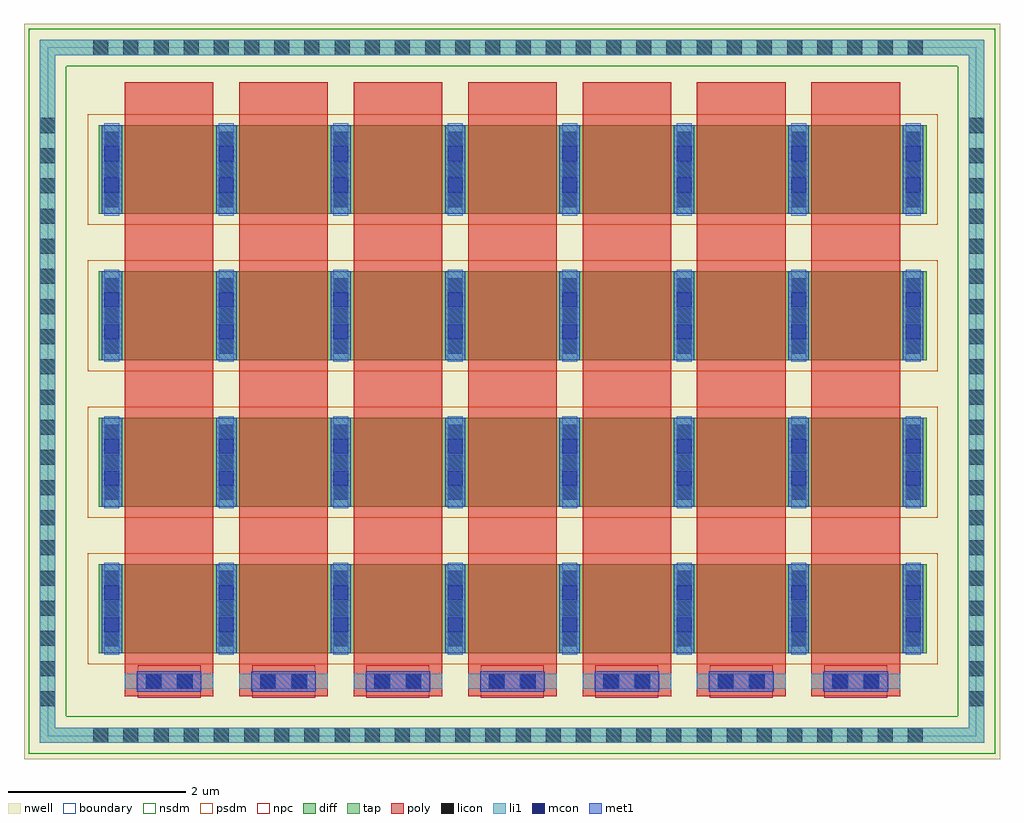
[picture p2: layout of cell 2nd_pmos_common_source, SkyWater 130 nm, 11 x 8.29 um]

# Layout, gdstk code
import gdstk
lib = gdstk.Library(unit=1e-6, precision=1e-09)
def R(c, l, rs):  # rectangles x0, y0, x1, y1
    for r in rs: c.add(gdstk.rectangle(r[:2], r[2:], *l))
def A(c, l, x, y, w, h, nx, ny, dx, dy):  # array of equal rectangles
    R(c, l, [(x+i*dx, y+j*dy, x+i*dx+w, y+j*dy+h) for i in range(nx) for j in range(ny)])
nwell = (64, 20)
diff = (65, 20)
tap = (65, 44)
poly = (66, 20)
licon = (66, 44)
li1 = (67, 20)
mcon = (67, 44)
met1 = (68, 20)
nsdm = (93, 44)
psdm = (94, 20)
npc = (95, 20)
boundary = (235, 4)

pfet_1_01v8 = lib.new_cell('pfet_1_01v8')
R(pfet_1_01v8, diff, [(0.125,0.485,1.715,1.485)])
R(pfet_1_01v8, poly, [(0.415,0,1.415,1.97)])
A(pfet_1_01v8, licon, 0.185, 0.56, 0.17, 0.17, 1, 3, 0, 0.34)
A(pfet_1_01v8, licon, 1.475, 0.56, 0.17, 0.17, 1, 3, 0, 0.34)
R(pfet_1_01v8, li1, [(0.185,0.465,0.355,1.505), (1.475,0.465,1.645,1.505)])
R(pfet_1_01v8, mcon, [(0.185,0.72,0.355,0.89), (1.475,0.72,1.645,0.89), (0.185,1.08,0.355,1.25), (1.475,1.08,1.645,1.25)])
R(pfet_1_01v8, met1, [(0.155,0.485,0.385,1.485), (1.445,0.485,1.675,1.485)])
R(pfet_1_01v8, psdm, [(0,0.36,1.84,1.61)])

pfet_28_01v8 = lib.new_cell('pfet_28_01v8')
r = gdstk.Reference(pfet_1_01v8, (0,0)); r.repetition = gdstk.Repetition(7, 4, v1=(1.29,0), v2=(0,1.65)); pfet_28_01v8.add(r)

connector = lib.new_cell('Connector')
R(connector, licon, [(0.245,0.1,0.415,0.27), (0.585,0.1,0.755,0.27)])
R(connector, li1, [(0,0.1,1,0.27)])
R(connector, mcon, [(0.235,0.1,0.405,0.27), (0.595,0.1,0.765,0.27)])
R(connector, met1, [(0.135,0.07,0.865,0.3)])
R(connector, npc, [(0.145,0,0.855,0.37)])

c_2nd_pmos_common_source = lib.new_cell('2nd_pmos_common_source')
R(c_2nd_pmos_common_source, nwell, [(0,7.985,11,16.27)])
R(c_2nd_pmos_common_source, tap, [(0.18,8.17,10.82,8.34), (0.18,8.34,0.35,15.92), (10.65,8.34,10.82,15.92), (0.18,15.92,10.82,16.09)])
A(c_2nd_pmos_common_source, licon, 0.78, 8.17, 0.17, 0.17, 14, 2, 0.34, 7.75)
A(c_2nd_pmos_common_source, licon, 5.88, 8.17, 0.17, 0.17, 13, 2, 0.34, 7.75)
A(c_2nd_pmos_common_source, licon, 0.18, 11.98, 0.17, 0.17, 1, 10, 0, 0.34)
A(c_2nd_pmos_common_source, licon, 10.65, 11.98, 0.17, 0.17, 1, 10, 0, 0.34)
R(c_2nd_pmos_common_source, licon, [(5.2,8.17,5.37,8.34), (5.54,8.17,5.71,8.34), (5.54,8.17,5.71,8.34), (5.88,8.17,6.05,8.34), (0.18,8.58,0.35,8.75), (0.18,8.58,0.35,8.75), (10.65,8.58,10.82,8.75), (10.65,8.58,10.82,8.75), (0.18,8.92,0.35,9.09), (0.18,8.92,0.35,9.09), (10.65,8.92,10.82,9.09), (10.65,8.92,10.82,9.09), (0.18,9.26,0.35,9.43), (0.18,9.26,0.35,9.43), (0.18,9.26,0.35,9.43), (0.18,9.26,0.35,9.43), (0.18,9.26,0.35,9.43), (0.18,9.26,0.35,9.43), (10.65,9.26,10.82,9.43), (10.65,9.26,10.82,9.43), (10.65,9.26,10.82,9.43), (10.65,9.26,10.82,9.43), (10.65,9.26,10.82,9.43), (10.65,9.26,10.82,9.43), (0.18,9.6,0.35,9.77), (0.18,9.6,0.35,9.77), (0.18,9.6,0.35,9.77), (0.18,9.6,0.35,9.77), (0.18,9.6,0.35,9.77), (0.18,9.6,0.35,9.77), (10.65,9.6,10.82,9.77), (10.65,9.6,10.82,9.77), (10.65,9.6,10.82,9.77), (10.65,9.6,10.82,9.77), (10.65,9.6,10.82,9.77), (10.65,9.6,10.82,9.77), (0.18,9.94,0.35,10.11), (0.18,9.94,0.35,10.11), (0.18,9.94,0.35,10.11), (0.18,9.94,0.35,10.11), (0.18,9.94,0.35,10.11), (0.18,9.94,0.35,10.11), (0.18,9.94,0.35,10.11), (0.18,9.94,0.35,10.11), (0.18,9.94,0.35,10.11), (0.18,9.94,0.35,10.11), (10.65,9.94,10.82,10.11), (10.65,9.94,10.82,10.11), (10.65,9.94,10.82,10.11), (10.65,9.94,10.82,10.11), (10.65,9.94,10.82,10.11), (10.65,9.94,10.82,10.11), (10.65,9.94,10.82,10.11), (10.65,9.94,10.82,10.11), (10.65,9.94,10.82,10.11), (10.65,9.94,10.82,10.11), (0.18,10.28,0.35,10.45), (0.18,10.28,0.35,10.45), (0.18,10.28,0.35,10.45), (0.18,10.28,0.35,10.45), (10.65,10.28,10.82,10.45), (10.65,10.28,10.82,10.45), (10.65,10.28,10.82,10.45), (10.65,10.28,10.82,10.45), (0.18,10.62,0.35,10.79), (0.18,10.62,0.35,10.79), (0.18,10.62,0.35,10.79), (0.18,10.62,0.35,10.79), (0.18,10.62,0.35,10.79), (0.18,10.62,0.35,10.79), (10.65,10.62,10.82,10.79), (10.65,10.62,10.82,10.79), (10.65,10.62,10.82,10.79), (10.65,10.62,10.82,10.79), (10.65,10.62,10.82,10.79), (10.65,10.62,10.82,10.79), (0.18,10.96,0.35,11.13), (0.18,10.96,0.35,11.13), (0.18,10.96,0.35,11.13), (0.18,10.96,0.35,11.13), (10.65,10.96,10.82,11.13), (10.65,10.96,10.82,11.13), (10.65,10.96,10.82,11.13), (10.65,10.96,10.82,11.13), (0.18,11.3,0.35,11.47), (0.18,11.3,0.35,11.47), (0.18,11.3,0.35,11.47), (10.65,11.3,10.82,11.47), (10.65,11.3,10.82,11.47), (10.65,11.3,10.82,11.47), (0.18,11.64,0.35,11.81), (0.18,11.64,0.35,11.81), (10.65,11.64,10.82,11.81), (10.65,11.64,10.82,11.81), (0.18,11.98,0.35,12.15), (10.65,11.98,10.82,12.15), (5.2,15.92,5.37,16.09), (5.54,15.92,5.71,16.09), (5.54,15.92,5.71,16.09), (5.88,15.92,6.05,16.09)])
R(c_2nd_pmos_common_source, li1, [(0.18,8.17,10.82,8.34), (0.18,8.34,0.35,15.92), (10.65,8.34,10.82,15.92), (0.18,15.92,10.82,16.09)])
R(c_2nd_pmos_common_source, nsdm, [(0.055,8.045,10.945,8.465), (0.055,8.465,0.475,15.795), (10.525,8.465,10.945,15.795), (0.055,15.795,10.945,16.215)])
R(c_2nd_pmos_common_source, boundary, [(0.265,8.24,10.735,16.005)])
c_2nd_pmos_common_source.add(gdstk.Reference(pfet_28_01v8, (0.72,8.695)))
r = gdstk.Reference(connector, (1.135,8.675)); r.repetition = gdstk.Repetition(7, 1, v1=(1.29,0), v2=(0,0)); c_2nd_pmos_common_source.add(r)

lib.write_gds('2nd_pmos_common_source.gds')
